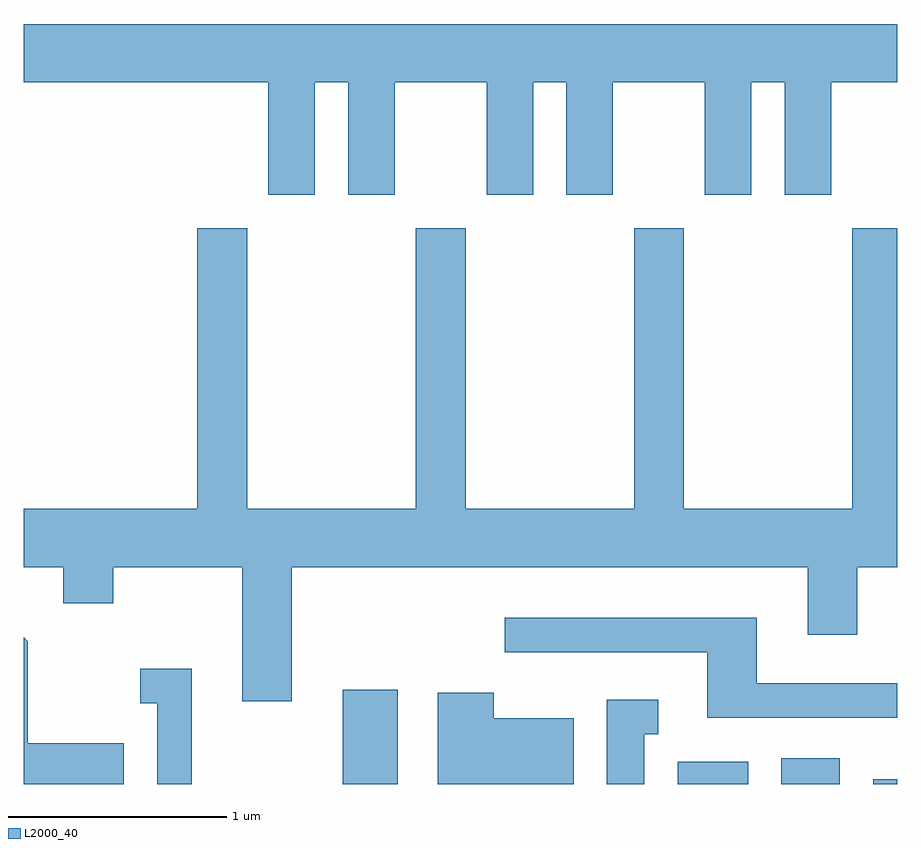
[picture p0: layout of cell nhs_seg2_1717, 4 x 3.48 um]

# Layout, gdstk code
import gdstk
lib = gdstk.Library(unit=1e-6, precision=1e-09)
def R(c, l, rs):  # rectangles x0, y0, x1, y1
    for r in rs: c.add(gdstk.rectangle(r[:2], r[2:], *l))
def P(c, l, *ps):  # polygons
    for p in ps: c.add(gdstk.Polygon(p, *l))
L2000_40 = (2000, 40)

nhs_seg2_1717 = lib.new_cell('nhs_seg2_1717')
R(nhs_seg2_1717, L2000_40, [(237.071,1011.802,237.324,1012.234), (238.606,1011.802,238.929,1011.904), (239.081,1011.802,239.349,1011.919), (239.501,1011.802,239.611,1011.824)])
P(nhs_seg2_1717, L2000_40, [(236.944,1015.016),(237.096,1015.016),(237.096,1014.501),(237.309,1014.501),(237.309,1015.016),(237.731,1015.016),(237.731,1014.501),(237.944,1014.501),(237.944,1015.016),(238.096,1015.016),(238.096,1014.501),(238.309,1014.501),(238.309,1015.016),(238.731,1015.016),(238.731,1014.501),(238.944,1014.501),(238.944,1015.016),(239.096,1015.016),(239.096,1014.501),(239.309,1014.501),(239.309,1015.016),(239.611,1015.016),(239.611,1015.284),(235.611,1015.284),(235.611,1015.016),(236.731,1015.016),(236.731,1014.501),(236.944,1014.501)],
  [(236.839,1012.796),(239.201,1012.796),(239.201,1012.486),(239.429,1012.486),(239.429,1012.796),(239.611,1012.796),(239.611,1014.349),(239.406,1014.349),(239.406,1013.064),(238.634,1013.064),(238.634,1014.349),(238.406,1014.349),(238.406,1013.064),(237.634,1013.064),(237.634,1014.349),(237.406,1014.349),(237.406,1013.064),(236.634,1013.064),(236.634,1014.349),(236.406,1014.349),(236.406,1013.064),(235.611,1013.064),(235.611,1012.796),(235.791,1012.796),(235.791,1012.631),(236.019,1012.631),(236.019,1012.796),(236.611,1012.796),(236.611,1012.181),(236.839,1012.181)],
  [(239.611,1012.264),(238.969,1012.264),(238.969,1012.564),(237.813,1012.564),(237.813,1012.406),(238.741,1012.406),(238.741,1012.106),(239.611,1012.106)],
  [(236.069,1011.989),(235.629,1011.989),(235.629,1012.457),(235.611,1012.475),(235.611,1011.802),(236.069,1011.802)],
  [(236.379,1012.329),(236.143,1012.329),(236.143,1012.171),(236.221,1012.171),(236.221,1011.802),(236.379,1011.802)],
  [(238.129,1012.104),(237.764,1012.104),(237.764,1012.219),(237.506,1012.219),(237.506,1011.802),(238.129,1011.802)],
  [(238.454,1012.031),(238.518,1012.031),(238.518,1012.189),(238.281,1012.189),(238.281,1011.802),(238.454,1011.802)])

lib.write_gds('nhs_seg2_1717.gds')
